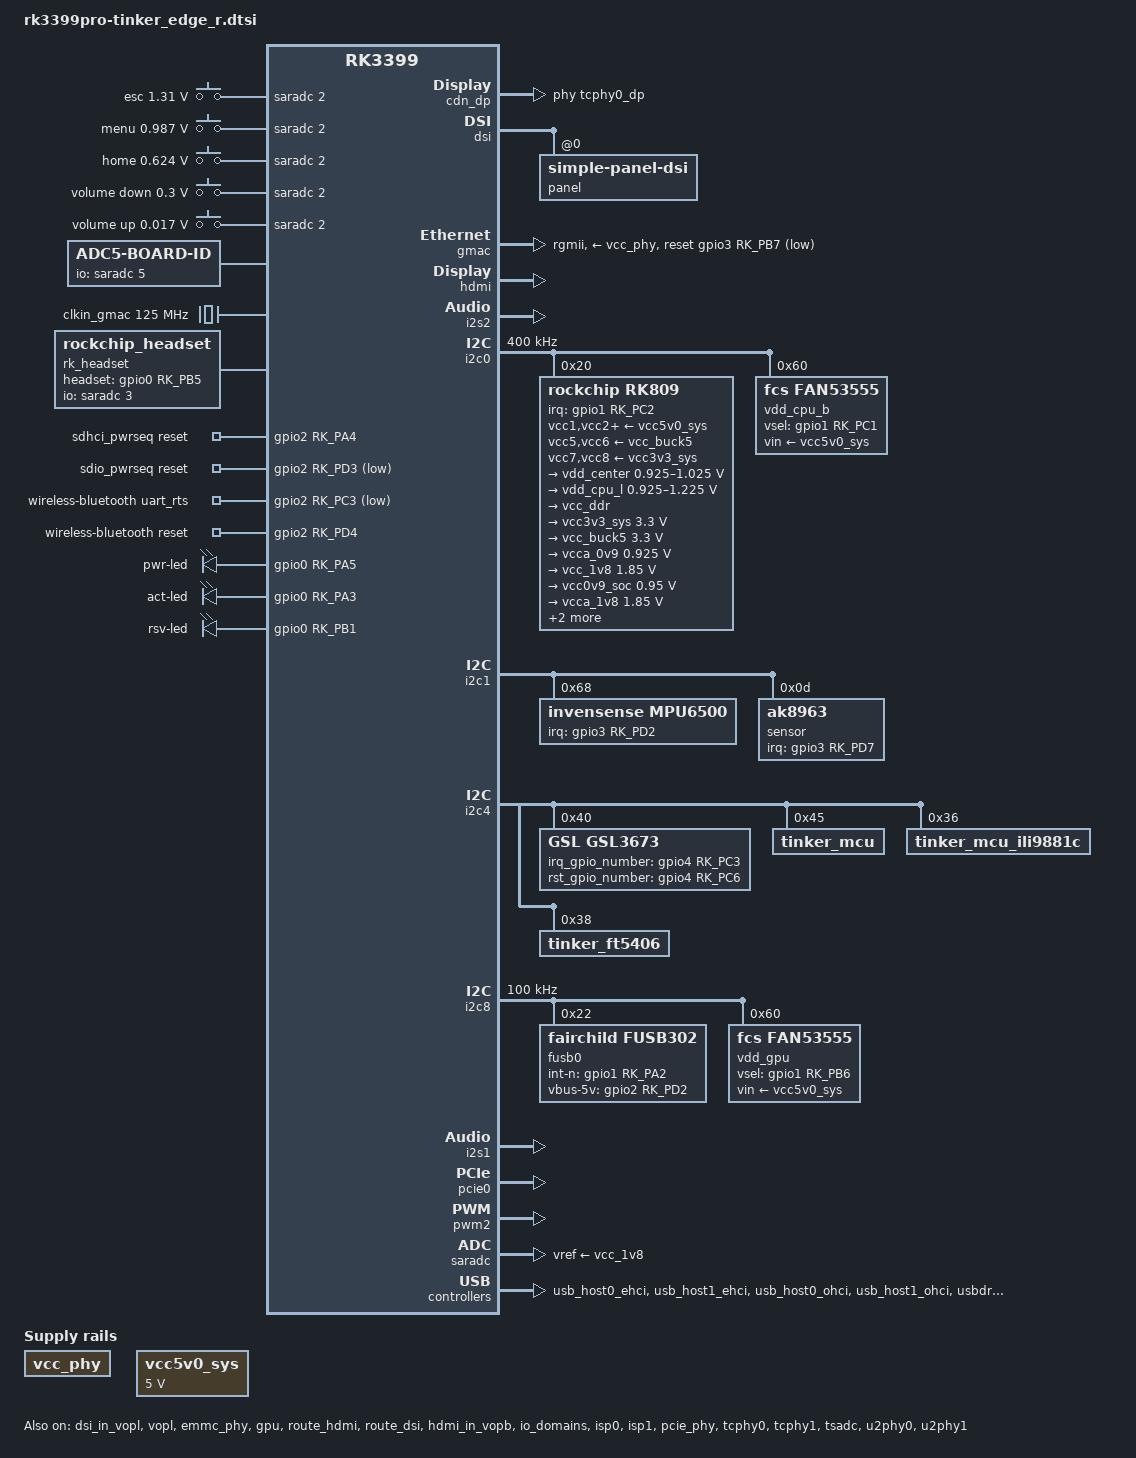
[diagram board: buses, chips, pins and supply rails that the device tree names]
// SPDX-License-Identifier: (GPL-2.0+ OR MIT)
/*
 * Copyright (c) 2018 Fuzhou Rockchip Electronics Co., Ltd
 *
 */

#include <dt-bindings/gpio/gpio.h>
#include <dt-bindings/pinctrl/rockchip.h>
#include <dt-bindings/input/input.h>
#include <dt-bindings/display/drm_mipi_dsi.h>
#include <dt-bindings/sensor-dev.h>
#include <dt-bindings/pwm/pwm.h>
#include "rk3399pro.dtsi"
#include "rk3399-android.dtsi"
#include "rk3399-opp.dtsi"
#include "rk3399-vop-clk-set.dtsi"

/ {
	adc-keys {
		compatible = "adc-keys";
		io-channels = <&saradc 2>;
		io-channel-names = "buttons";
		poll-interval = <100>;
		keyup-threshold-microvolt = <1800000>;

		esc-key {
			linux,code = <KEY_ESC>;
			label = "esc";
			press-threshold-microvolt = <1310000>;
		};

		menu-key {
			linux,code = <KEY_MENU>;
			label = "menu";
			press-threshold-microvolt = <987000>;
		};

		home-key {
			linux,code = <KEY_HOME>;
			label = "home";
			press-threshold-microvolt = <624000>;
		};

		vol-down-key {
			linux,code = <KEY_VOLUMEDOWN>;
			label = "volume down";
			press-threshold-microvolt = <300000>;
		};

		vol-up-key {
			linux,code = <KEY_VOLUMEUP>;
			label = "volume up";
			press-threshold-microvolt = <17000>;
		};
	};

	ADC5-BOARD-ID {
		compatible = "ADC5-BOARD-ID";
		io-channels = <&saradc 5>;
		io-channel-names = "adc5";
	};

	backlight: backlight {
		compatible = "pwm-backlight";
		pwms = <&pwm0 0 25000 0>;
		brightness-levels = <
			  0  20  20  21  21  22  22  23
			 23  24  24  25  25  26  26  27
			 27  28  28  29  29  30  30  31
			 31  32  32  33  33  34  34  35
			 35  36  36  37  37  38  38  39
			 40  41  42  43  44  45  46  47
			 48  49  50  51  52  53  54  55
			 56  57  58  59  60  61  62  63
			 64  65  66  67  68  69  70  71
			 72  73  74  75  76  77  78  79
			 80  81  82  83  84  85  86  87
			 88  89  90  91  92  93  94  95
			 96  97  98  99 100 101 102 103
			104 105 106 107 108 109 110 111
			112 113 114 115 116 117 118 119
			120 121 122 123 124 125 126 127
			128 129 130 131 132 133 134 135
			136 137 138 139 140 141 142 143
			144 145 146 147 148 149 150 151
			152 153 154 155 156 157 158 159
			160 161 162 163 164 165 166 167
			168 169 170 171 172 173 174 175
			176 177 178 179 180 181 182 183
			184 185 186 187 188 189 190 191
			192 193 194 195 196 197 198 199
			200 201 202 203 204 205 206 207
			208 209 210 211 212 213 214 215
			216 217 218 219 220 221 222 223
			224 225 226 227 228 229 230 231
			232 233 234 235 236 237 238 239
			240 241 242 243 244 245 246 247
			248 249 250 251 252 253 254 255
		>;
		default-brightness-level = <200>;
		enable-gpios = <&gpio1 RK_PB5 GPIO_ACTIVE_HIGH>;
		status = "disabled";
	};

	clkin_gmac: external-gmac-clock {
		compatible = "fixed-clock";
		clock-frequency = <125000000>;
		clock-output-names = "clkin_gmac";
		#clock-cells = <0>;
	};

	rk809-sound {
		compatible = "simple-audio-card";
		simple-audio-card,format = "i2s";
		simple-audio-card,name = "rockchip,rk809-codec";
		simple-audio-card,mclk-fs = <256>;
		simple-audio-card,widgets =
			"Microphone", "Mic Jack",
			"Headphone", "Headphone Jack";
		simple-audio-card,routing =
			"Mic Jack", "MICBIAS1",
			"IN1P", "Mic Jack",
			"Headphone Jack", "HPOL",
			"Headphone Jack", "HPOR";
		simple-audio-card,cpu {
			sound-dai = <&i2s1>;
		};
		simple-audio-card,codec {
			sound-dai = <&rk809_codec>;
		};
	};

/*
	hdmi_sound: hdmi-sound {
		status = "okay";
		compatible = "simple-audio-card";
		simple-audio-card,format = "i2s";
		simple-audio-card,mclk-fs = <256>;
		simple-audio-card,name = "rockchip,hdmi";

		simple-audio-card,cpu {
			sound-dai = <&i2s2>;
		};
		simple-audio-card,codec {
			sound-dai = <&hdmi>;
		};
	};
*/

	hdmi_dp_sound: hdmi-dp-sound {
		status = "okay";
		compatible = "rockchip,rk3399-hdmi-dp";
		rockchip,cpu = <&i2s2>;
		rockchip,codec = <&hdmi>, <&cdn_dp>;
	};

	rk_headset {
		compatible = "rockchip_headset";
		headset_gpio = <&gpio0 RK_PB5 GPIO_ACTIVE_HIGH>;
		pinctrl-names = "default";
		pinctrl-0 = <&hp_det>;
		io-channels = <&saradc 3>;
	};

	sdhci_pwrseq: sdhci-pwrseq {
		compatible = "mmc-pwrseq-emmc";
		pinctrl-0 = <&sdhci_reset>;
		pinctrl-names = "default";
		reset-gpios = <&gpio2 RK_PA4 GPIO_ACTIVE_HIGH>;
	};

	sdio_pwrseq: sdio-pwrseq {
		compatible = "mmc-pwrseq-simple";
		clocks = <&rk809 1>;
		clock-names = "ext_clock";
		pinctrl-names = "default";
		pinctrl-0 = <&wifi_enable_h>;

		/*
		 * On the module itself this is one of these (depending
		 * on the actual card populated):
		 * - SDIO_RESET_L_WL_REG_ON
		 * - PDN (power down when low)
		 */
		reset-gpios = <&gpio2 RK_PD3 GPIO_ACTIVE_LOW>;
	};

	vcc_phy: vcc-phy-regulator {
		compatible = "regulator-fixed";
		regulator-name = "vcc_phy";
		regulator-always-on;
		regulator-boot-on;
	};

	vcc5v0_sys: vccsys {
		compatible = "regulator-fixed";
		regulator-name = "vcc5v0_sys";
		regulator-always-on;
		regulator-boot-on;
		regulator-min-microvolt = <5000000>;
		regulator-max-microvolt = <5000000>;
	};

	wireless-wlan {
		compatible = "wlan-platdata";
		wifi_chip_type = "rtl8822ce";
		status = "okay";
	};

	wireless-bluetooth {
		compatible = "bluetooth-platdata";
		clocks = <&rk809 1>;
		clock-names = "ext_clock";
		uart_rts_gpios = <&gpio2 RK_PC3 GPIO_ACTIVE_LOW>;
		pinctrl-names = "default", "rts_gpio";
		pinctrl-0 = <&uart0_rts>, <&bt_irq_gpio>;
		pinctrl-1 = <&uart0_gpios>;
		BT,reset_gpio    = <&gpio2 RK_PD4 GPIO_ACTIVE_HIGH>;
		//BT,wake_gpio     = <&gpio2 RK_PD2 GPIO_ACTIVE_HIGH>;
		//BT,wake_host_irq = <&gpio0 RK_PA5 GPIO_ACTIVE_HIGH>;
		status = "okay";
	};

	usbacm_video_control: usbacm-video-control {
		compatible = "rockchip,usbacm-video-control";
		status = "disabled";
	};

	gpio-leds {
		compatible = "gpio-leds";

		pwr-led {
			gpios = <&gpio0 RK_PA5 GPIO_ACTIVE_HIGH>;
			linux,default-trigger = "default-on";
			retain-state-suspended = <1>;
		};

		act-led {
			gpios = <&gpio0 RK_PA3 GPIO_ACTIVE_HIGH>;
			linux,default-trigger="mmc0";
		};

		rsv-led {
			gpios = <&gpio0 RK_PB1 GPIO_ACTIVE_HIGH>;
			linux,default-trigger="none";
		};
	};
};

&cdn_dp {
	status = "okay";
	extcon = <&fusb0>;
	phys = <&tcphy0_dp>;
};

&cpu_l0 {
	cpu-supply = <&vdd_cpu_l>;
};

&cpu_l1 {
	cpu-supply = <&vdd_cpu_l>;
};

&cpu_l2 {
	cpu-supply = <&vdd_cpu_l>;
};

&cpu_l3 {
	cpu-supply = <&vdd_cpu_l>;
};

&cpu_b0 {
	cpu-supply = <&vdd_cpu_b>;
};

&cpu_b1 {
	cpu-supply = <&vdd_cpu_b>;
};

&dmc {
	status = "disabled";
	center-supply = <&vdd_center>;
};

&dp_in_vopb {
	status = "disabled";
};

&edp {
	status = "disabled";
};

&edp_in_vopl {
	status = "disabled";
};

&edp_in_vopb {
	status = "disabled";
};

&dsi_in_vopl {
	status = "okay";
};

&dsi_in_vopb {
	status = "disabled";
};

&dsi1 {
	status = "disabled";
};

&dsi1_in_vopl {
	status = "disabled";
};

&dsi1_in_vopb {
	status = "disabled";
};

&vopl {
	status = "okay";
};

&dsi {
	status = "okay";

	panel@0 {
		compatible ="simple-panel-dsi";
		reg = <0>;

		rpi-init-sequence = [
				29 00 06 10 02 03 00 00 00
				29 00 06 64 01 0C 00 00 00
				29 00 06 68 01 0C 00 00 00
				29 00 06 44 01 00 00 00 00
				29 00 06 48 01 00 00 00 00
				29 00 06 14 01 15 00 00 00
				29 00 06 50 04 60 00 00 00
				29 00 06 20 04 52 01 10 00
				29 00 06 24 04 14 00 1A 00
				29 00 06 28 04 20 03 69 00
				29 00 06 2C 04 02 00 15 00
				29 00 06 30 04 E0 01 07 00
				29 00 06 34 04 01 00 00 00
				29 00 06 64 04 0F 04 00 00
				29 00 06 04 01 01 00 00 00
				29 00 06 04 02 01 00 00 00
		];
		powertip-exit-sequence = [
			05 14 01 28
			05 78 01 10
		];
		powertip-rev-a-init-sequence = [
			39 00 04 ff 98 81 03
			15 00 02 03 55
			15 00 02 04 13
			15 00 02 06 06
			15 00 02 07 01
			15 00 02 09 01
			15 00 02 0a 01
			15 00 02 0f 18
			15 00 02 10 18
			15 00 02 1e 44
			15 00 02 1f 80
			15 00 02 20 02
			15 00 02 21 03
			15 00 02 28 33
			15 00 02 29 03
			15 00 02 34 04
			15 00 02 38 01
			15 00 02 50 01
			15 00 02 51 23
			15 00 02 52 45
			15 00 02 53 67
			15 00 02 54 89
			15 00 02 55 ab
			15 00 02 56 01
			15 00 02 57 23
			15 00 02 58 45
			15 00 02 59 67
			15 00 02 5a 89
			15 00 02 5b ab
			15 00 02 5c cd
			15 00 02 5d ef
			15 00 02 5e 11
			15 00 02 5f 14
			15 00 02 60 15
			15 00 02 61 0f
			15 00 02 62 0d
			15 00 02 63 0e
			15 00 02 64 0c
			15 00 02 65 06
			15 00 02 66 02
			15 00 02 67 02
			15 00 02 68 02
			15 00 02 69 02
			15 00 02 6a 02
			15 00 02 6b 02
			15 00 02 6c 02
			15 00 02 6d 02
			15 00 02 6e 02
			15 00 02 6f 02
			15 00 02 70 02
			15 00 02 72 01
			15 00 02 73 08
			15 00 02 74 02
			15 00 02 75 14
			15 00 02 76 15
			15 00 02 77 0f
			15 00 02 78 0d
			15 00 02 79 0e
			15 00 02 7a 0c
			15 00 02 7b 08
			15 00 02 7c 02
			15 00 02 7d 02
			15 00 02 7e 02
			15 00 02 7f 02
			15 00 02 80 02
			15 00 02 81 02
			15 00 02 82 02
			15 00 02 83 02
			15 00 02 84 02
			15 00 02 85 02
			15 00 02 86 02
			15 00 02 88 01
			15 00 02 89 06
			15 00 02 8a 02
			39 00 04 ff 98 81 04
			15 00 02 6c 15
			15 00 02 6e 2a
			15 00 02 6f 33
			15 00 02 3a 24
			15 00 02 8d 14
			15 00 02 87 ba
			15 00 02 26 76
			15 00 02 b2 d1
			15 00 02 b5 d7
			15 00 02 35 1f
			39 00 04 ff 98 81 01
			15 00 02 22 0a
			15 00 02 53 72
			15 00 02 55 77
			15 00 02 50 a6
			15 00 02 51 a6
			15 00 02 60 30
			15 00 02 a0 08
			15 00 02 a1 1a
			15 00 02 a2 2a
			15 00 02 a3 14
			15 00 02 a4 17
			15 00 02 a5 2b
			15 00 02 a6 1d
			15 00 02 a7 20
			15 00 02 a8 9d
			15 00 02 a9 1c
			15 00 02 aa 29
			15 00 02 ab 8f
			15 00 02 ac 20
			15 00 02 ad 1f
			15 00 02 ae 4f
			15 00 02 af 23
			15 00 02 b0 29
			15 00 02 b1 56
			15 00 02 b2 66
			15 00 02 b3 39
			15 00 02 c0 08
			15 00 02 c1 1a
			15 00 02 c2 2a
			15 00 02 c3 15
			15 00 02 c4 17
			15 00 02 c5 2b
			15 00 02 c6 1d
			15 00 02 c7 20
			15 00 02 c8 9d
			15 00 02 c9 1d
			15 00 02 ca 29
			15 00 02 cb 8f
			15 00 02 cc 20
			15 00 02 cd 1f
			15 00 02 ce 4f
			15 00 02 cf 24
			15 00 02 d0 29
			15 00 02 d1 56
			15 00 02 d2 66
			15 00 02 d3 39
			39 00 04 ff 98 81 00
			15 00 02 35 00
			05 78 01 11
			05 78 01 29
		];
		powertip-rev-b-init-sequence = [
			39 00 04 FF 98 81 03
			15 00 02 01 00
			15 00 02 02 00
			15 00 02 03 73
			15 00 02 04 00
			15 00 02 05 00
			15 00 02 06 0A
			15 00 02 07 00
			15 00 02 08 00
			15 00 02 09 61
			15 00 02 0A 00
			15 00 02 0B 00
			15 00 02 0C 01
			15 00 02 0D 00
			15 00 02 0E 00
			15 00 02 0F 61
			15 00 02 10 61
			15 00 02 11 00
			15 00 02 12 00
			15 00 02 13 00
			15 00 02 14 00
			15 00 02 15 00
			15 00 02 16 00
			15 00 02 17 00
			15 00 02 18 00
			15 00 02 19 00
			15 00 02 1A 00
			15 00 02 1B 00
			15 00 02 1C 00
			15 00 02 1D 00
			15 00 02 1E 40
			15 00 02 1F 80
			15 00 02 20 06
			15 00 02 21 01
			15 00 02 22 00
			15 00 02 23 00
			15 00 02 24 00
			15 00 02 25 00
			15 00 02 26 00
			15 00 02 27 00
			15 00 02 28 33
			15 00 02 29 03
			15 00 02 2A 00
			15 00 02 2B 00
			15 00 02 2C 00
			15 00 02 2D 00
			15 00 02 2E 00
			15 00 02 2F 00
			15 00 02 30 00
			15 00 02 31 00
			15 00 02 32 00
			15 00 02 33 00
			15 00 02 34 04
			15 00 02 35 00
			15 00 02 36 00
			15 00 02 37 00
			15 00 02 38 3C
			15 00 02 39 00
			15 00 02 3A 00
			15 00 02 3B 00
			15 00 02 3C 00
			15 00 02 3D 00
			15 00 02 3E 00
			15 00 02 3F 00
			15 00 02 40 00
			15 00 02 41 00
			15 00 02 42 00
			15 00 02 43 00
			15 00 02 44 00
			15 00 02 50 10
			15 00 02 51 32
			15 00 02 52 54
			15 00 02 53 76
			15 00 02 54 98
			15 00 02 55 BA
			15 00 02 56 10
			15 00 02 57 32
			15 00 02 58 54
			15 00 02 59 76
			15 00 02 5A 98
			15 00 02 5B BA
			15 00 02 5C DC
			15 00 02 5D FE
			15 00 02 5E 00
			15 00 02 5F 0E
			15 00 02 60 0F
			15 00 02 61 0C
			15 00 02 62 0D
			15 00 02 63 06
			15 00 02 64 07
			15 00 02 65 02
			15 00 02 66 02
			15 00 02 67 02
			15 00 02 68 02
			15 00 02 69 01
			15 00 02 6A 00
			15 00 02 6B 02
			15 00 02 6C 15
			15 00 02 6D 14
			15 00 02 6E 02
			15 00 02 6F 02
			15 00 02 70 02
			15 00 02 71 02
			15 00 02 72 02
			15 00 02 73 02
			15 00 02 74 02
			15 00 02 75 0E
			15 00 02 76 0F
			15 00 02 77 0C
			15 00 02 78 0D
			15 00 02 79 06
			15 00 02 7A 07
			15 00 02 7B 02
			15 00 02 7C 02
			15 00 02 7D 02
			15 00 02 7E 02
			15 00 02 7F 01
			15 00 02 80 00
			15 00 02 81 02
			15 00 02 82 14
			15 00 02 83 15
			15 00 02 84 02
			15 00 02 85 02
			15 00 02 86 02
			15 00 02 87 02
			15 00 02 88 02
			15 00 02 89 02
			15 00 02 8A 02
			39 00 04 FF 98 81 04
			15 00 02 6C 15
			15 00 02 6E 2A
			15 00 02 6F 33
			15 00 02 3B 98
			15 00 02 3A 94
			15 00 02 8D 14
			15 00 02 87 BA
			15 00 02 26 76
			15 00 02 B2 D1
			15 00 02 B5 06
			15 00 02 38 01
			15 00 02 39 00
			39 00 04 FF 98 81 01
			15 00 02 22 0A
			15 00 02 31 00
			15 00 02 53 7D
			15 00 02 55 8F
			15 00 02 40 33
			15 00 02 50 96
			15 00 02 51 96
			15 00 02 60 23
			15 00 02 A0 08
			15 00 02 A1 1D
			15 00 02 A2 2A
			15 00 02 A3 10
			15 00 02 A4 15
			15 00 02 A5 28
			15 00 02 A6 1C
			15 00 02 A7 1D
			15 00 02 A8 7E
			15 00 02 A9 1D
			15 00 02 AA 29
			15 00 02 AB 6B
			15 00 02 AC 1A
			15 00 02 AD 18
			15 00 02 AE 4B
			15 00 02 AF 20
			15 00 02 B0 27
			15 00 02 B1 50
			15 00 02 B2 64
			15 00 02 B3 39
			15 00 02 C0 08
			15 00 02 C1 1D
			15 00 02 C2 2A
			15 00 02 C3 10
			15 00 02 C4 15
			15 00 02 C5 28
			15 00 02 C6 1C
			15 00 02 C7 1D
			15 00 02 C8 7E
			15 00 02 C9 1D
			15 00 02 CA 29
			15 00 02 CB 6B
			15 00 02 CC 1A
			15 00 02 CD 18
			15 00 02 CE 4B
			15 00 02 CF 20
			15 00 02 D0 27
			15 00 02 D1 50
			15 00 02 D2 64
			15 00 02 D3 39
			39 00 04 ff 98 81 00
			15 00 02 35 00
			05 78 01 11
			05 78 01 29
		];

		rpi-display-timings {
			native-mode = <&timing0>;

			timing0: timing0 {
				clock-frequency = <26101800>;
				hactive = <800>;
				vactive = <480>;
				hfront-porch = <2>;
				hsync-len = <2>;
				hback-porch = <52>;
				vfront-porch = <7>;
				vsync-len = <2>;
				vback-porch = <21>;
				hsync-active = <0>;
				vsync-active = <0>;
				de-active = <0>;
				pixelclk-active = <0>;
			};
		};

		powertip-display-timings {
			native-mode = <&timing1>;

			timing1: timing1 {
				clock-frequency = <66800000>;
				hactive = <720>;
				vactive = <1280>;
				hfront-porch = <8>;
				hsync-len = <55>;
				hback-porch = <55>;
				vfront-porch = <8>;
				vsync-len = <20>;
				vback-porch = <20>;
				hsync-active = <0>;
				vsync-active = <0>;
				de-active = <0>;
				pixelclk-active = <0>;
			};
		};
	};
};

&emmc_phy {
	status = "okay";
};

&fiq_debugger {
	rockchip,serial-id = <0>;
	rockchip,baudrate = <115200>;
	pinctrl-0 = <&uart0_xfer>;
};

&gmac {
	phy-supply = <&vcc_phy>;
	phy-mode = "rgmii";
	clock_in_out = "input";
	snps,reset-gpio = <&gpio3 RK_PB7 GPIO_ACTIVE_LOW>;
	snps,reset-active-low;
	snps,reset-delays-us = <0 16000 72000>;
	assigned-clocks = <&cru SCLK_RMII_SRC>;
	assigned-clock-parents = <&clkin_gmac>;
	pinctrl-names = "default";
	pinctrl-0 = <&rgmii_pins>;
	tx_delay = <0x23>;
	rx_delay = <0x22>;
	status = "okay";
};

&gpu {
	status = "okay";
	mali-supply = <&vdd_gpu>;
};

&route_hdmi {
	status = "okay";
	connect = <&vopb_out_hdmi>;
};

&route_dsi{
	status = "okay";
	logo,uboot = "tinker_720.bmp";
	logo,kernel = "tinker_720.bmp";
	connect = <&vopl_out_dsi>;
};

&hdmi {
	status = "okay";
	#sound-dai-cells = <0>;
	rockchip,phy-table =
		<74250000  0x8009 0x0004 0x0272>,
		<165000000 0x802b 0x0004 0x0209>,
		<297000000 0x8039 0x0005 0x028d>,
		<594000000 0x8039 0x0000 0x00f6>,
		<000000000 0x0000 0x0000 0x0000>;
};

&hdmi_dp_sound {
	status = "okay";
};

&hdmi_in_vopb {
	status = "okay";
};

&hdmi_in_vopl {
	status = "disabled";
};

&i2s2 {
	#sound-dai-cells = <0>;
	status = "okay";
};

&i2c0 {
	status = "okay";
	i2c-scl-rising-time-ns = <180>;
	i2c-scl-falling-time-ns = <30>;
	clock-frequency = <400000>;

	rk809: pmic@20 {
		compatible = "rockchip,rk809";
		reg = <0x20>;
		interrupt-parent = <&gpio1>;
		interrupts = <RK_PC2 IRQ_TYPE_LEVEL_LOW>;
		pinctrl-names = "default", "pmic-sleep",
				"pmic-power-off", "pmic-reset";
		pinctrl-0 = <&pmic_int_l>;
		pinctrl-1 = <&soc_slppin_slp>, <&rk809_slppin_slp>;
		pinctrl-2 = <&soc_slppin_gpio>, <&rk809_slppin_pwrdn>;
		pinctrl-3 = <&soc_slppin_gpio>,<&rk809_slppin_null>;
		rockchip,system-power-controller;
		pmic-reset-func = <0>;
		wakeup-source;
		#clock-cells = <1>;
		clock-output-names = "rk808-clkout1", "rk808-clkout2";

		vcc1-supply = <&vcc5v0_sys>;
		vcc2-supply = <&vcc5v0_sys>;
		vcc3-supply = <&vcc5v0_sys>;
		vcc4-supply = <&vcc5v0_sys>;
		vcc5-supply = <&vcc_buck5>;
		vcc6-supply = <&vcc_buck5>;
		vcc7-supply = <&vcc3v3_sys>;
		vcc8-supply = <&vcc3v3_sys>;
		vcc9-supply = <&vcc5v0_sys>;

		pwrkey {
			status = "okay";
		};

		rtc {
			status = "okay";
		};

		pinctrl_rk8xx: pinctrl_rk8xx {
			gpio-controller;
			#gpio-cells = <2>;

			rk809_slppin_null: rk809_slppin_null {
				pins = "gpio_slp";
				function = "pin_fun0";
			};

			rk809_slppin_slp: rk809_slppin_slp {
				pins = "gpio_slp";
				function = "pin_fun1";
			};

			rk809_slppin_pwrdn: rk809_slppin_pwrdn {
				pins = "gpio_slp";
				function = "pin_fun2";
			};

			rk809_slppin_rst: rk809_slppin_rst {
				pins = "gpio_slp";
				function = "pin_fun3";
			};
		};

		regulators {
			vdd_center: DCDC_REG1 {
				regulator-always-on;
				regulator-boot-on;
				regulator-min-microvolt = <925000>;
				regulator-max-microvolt = <1025000>;
				regulator-initial-mode = <0x2>;
				regulator-name = "vdd_center";
				regulator-state-mem {
					regulator-off-in-suspend;
					regulator-suspend-microvolt = <925000>;
				};
			};

			vdd_cpu_l: DCDC_REG2 {
				regulator-always-on;
				regulator-boot-on;
				regulator-min-microvolt = <925000>;
				regulator-max-microvolt = <1225000>;
				regulator-ramp-delay = <6001>;
				regulator-initial-mode = <0x2>;
				regulator-name = "vdd_cpu_l";
				regulator-state-mem {
					regulator-off-in-suspend;
				};
			};

			vcc_ddr: DCDC_REG3 {
				regulator-always-on;
				regulator-boot-on;
				regulator-name = "vcc_ddr";
				regulator-initial-mode = <0x2>;
				regulator-state-mem {
					regulator-on-in-suspend;
				};
			};

			vcc3v3_sys: DCDC_REG4 {
				regulator-always-on;
				regulator-boot-on;
				regulator-min-microvolt = <3300000>;
				regulator-max-microvolt = <3300000>;
				regulator-initial-mode = <0x2>;
				regulator-name = "vcc3v3_sys";
				regulator-state-mem {
					regulator-on-in-suspend;
					regulator-suspend-microvolt = <3300000>;
				};
			};

			vcc_buck5: DCDC_REG5 {
				regulator-always-on;
				regulator-boot-on;
				regulator-min-microvolt = <3300000>;
				regulator-max-microvolt = <3300000>;
				regulator-name = "vcc_buck5";
				regulator-state-mem {
					regulator-on-in-suspend;
					regulator-suspend-microvolt = <3300000>;
				};
			};

			vcca_0v9: LDO_REG1 {
				regulator-always-on;
				regulator-boot-on;
				regulator-min-microvolt = <925000>;
				regulator-max-microvolt = <925000>;
				regulator-name = "vcca_0v9";
				regulator-state-mem {
					regulator-on-in-suspend;
					regulator-suspend-microvolt = <925000>;
				};
			};

			vcc_1v8: LDO_REG2 {
				regulator-always-on;
				regulator-boot-on;
				regulator-min-microvolt = <1850000>;
				regulator-max-microvolt = <1850000>;

				regulator-name = "vcc_1v8";
				regulator-state-mem {
					regulator-on-in-suspend;
					regulator-suspend-microvolt = <1850000>;
				};
			};

			vcc0v9_soc: LDO_REG3 {
				regulator-always-on;
				regulator-boot-on;
				regulator-min-microvolt = <950000>;
				regulator-max-microvolt = <950000>;

				regulator-name = "vcc0v9_soc";
				regulator-state-mem {
					regulator-on-in-suspend;
					regulator-suspend-microvolt = <950000>;
				};
			};

			vcca_1v8: LDO_REG4 {
				regulator-always-on;
				regulator-boot-on;
				regulator-min-microvolt = <1850000>;
				regulator-max-microvolt = <1850000>;

				regulator-name = "vcca_1v8";
				regulator-state-mem {
					regulator-on-in-suspend;
					regulator-suspend-microvolt = <1850000>;
				};
			};

			vdd1v5_dvp: LDO_REG5 {
				regulator-always-on;
				regulator-boot-on;
				regulator-min-microvolt = <1850000>;
				regulator-max-microvolt = <1850000>;

				regulator-name = "vdd1v5_dvp";
				regulator-state-mem {
					regulator-off-in-suspend;
				};
			};

			vcc_1v5: LDO_REG6 {
				regulator-always-on;
				regulator-boot-on;
				regulator-min-microvolt = <1550000>;
				regulator-max-microvolt = <1550000>;

				regulator-name = "vcc_1v5";
				regulator-state-mem {
					regulator-off-in-suspend;
				};
			};

			vcc_3v0: LDO_REG7 {
				regulator-always-on;
				regulator-boot-on;
				regulator-min-microvolt = <3075000>;
				regulator-max-microvolt = <3075000>;

				regulator-name = "vcc_3v0";
				regulator-state-mem {
					regulator-off-in-suspend;
				};
			};

			vccio_sd: LDO_REG8 {
				regulator-always-on;
				regulator-boot-on;
				regulator-min-microvolt = <1850000>;
				regulator-max-microvolt = <3375000>;

				regulator-name = "vccio_sd";
				regulator-state-mem {
					regulator-off-in-suspend;
				};
			};

			vcc_sd: LDO_REG9 {
				regulator-always-on;
				regulator-boot-on;
				regulator-min-microvolt = <3375000>;
				regulator-max-microvolt = <3375000>;

				regulator-name = "vcc_sd";
				regulator-state-mem {
					regulator-off-in-suspend;
				};
			};

			vcc5v0_usb: SWITCH_REG1 {
				regulator-always-on;
				regulator-boot-on;
				regulator-min-microvolt = <5000000>;
				regulator-max-microvolt = <5000000>;

				regulator-name = "vcc5v0_usb";
				regulator-state-mem {
					regulator-on-in-suspend;
					regulator-suspend-microvolt = <5000000>;
				};
			};

			vccio_3v3: SWITCH_REG2 {
				regulator-always-on;
				regulator-boot-on;
				regulator-min-microvolt = <3300000>;
				regulator-max-microvolt = <3300000>;

				regulator-name = "vccio_3v3";
				regulator-state-mem {
					regulator-on-in-suspend;
					regulator-suspend-microvolt = <3300000>;
				};
			};
		};

		rk809_codec: codec {
			#sound-dai-cells = <0>;
			compatible = "rockchip,rk809-codec", "rockchip,rk817-codec";
			clocks = <&cru SCLK_I2S_8CH_OUT>;
			clock-names = "mclk";
			pinctrl-names = "default";
			pinctrl-0 = <&i2s_8ch_mclk>;
			hp-volume = <20>;
			spk-volume = <3>;
			status = "okay";
		};
	};

	vdd_cpu_b: fan53555@60 {
		compatible = "fcs,fan53555";
		reg = <0x60>;
		vin-supply = <&vcc5v0_sys>;
		regulator-compatible = "fan53555-reg";
		pinctrl-0 = <&vsel1_gpio>;
		vsel-gpios = <&gpio1 RK_PC1 GPIO_ACTIVE_HIGH>;
		regulator-name = "vdd_cpu_b";
		regulator-min-microvolt = <925000>;
		regulator-max-microvolt = <1275000>;
		regulator-ramp-delay = <1000>;
		fcs,suspend-voltage-selector = <1>;
		regulator-always-on;
		regulator-boot-on;
		regulator-initial-state = <3>;
		regulator-state-mem {
			regulator-off-in-suspend;
		};
	};

	bq25700: bq25700@6b {
		compatible = "ti,bq25703";
		reg = <0x6b>;
		extcon = <&fusb0>;
		interrupt-parent = <&gpio1>;
		interrupts = <RK_PA1 IRQ_TYPE_LEVEL_LOW>;
		pinctrl-names = "default";
		pinctrl-0 = <&charger_ok_int>;
		ti,charge-current = <1500000>;
		ti,max-charge-voltage = <8704000>;
		ti,max-input-voltage = <20000000>;
		ti,max-input-current = <6000000>;
		ti,input-current-sdp = <500000>;
		ti,input-current-dcp = <2000000>;
		ti,input-current-cdp = <2000000>;
		ti,input-current-dc = <2000000>;
		ti,minimum-sys-voltage = <6700000>;
		ti,otg-voltage = <5000000>;
		ti,otg-current = <500000>;
		ti,input-current = <500000>;
		pd-charge-only = <0>;
		status = "disabled";
	};
};

&i2c1 {
	status = "okay";
	i2c-scl-rising-time-ns = <140>;
	i2c-scl-falling-time-ns = <30>;

	mpu6500@68 {
		status = "okay";
		compatible = "invensense,mpu6500";
		reg = <0x68>;
		irq-gpio = <&gpio3 RK_PD2 IRQ_TYPE_EDGE_RISING>;
		mpu-int_config = <0x10>;
		mpu-level_shifter = <0>;
		mpu-orientation = <0 1 0 1 0 0 0 0 1>;
		orientation-x= <0>;
		orientation-y= <0>;
		orientation-z= <1>;
		mpu-debug = <1>;
	};

	sensor@d {
		status = "okay";
		compatible = "ak8963";
		reg = <0x0d>;
		type = <SENSOR_TYPE_COMPASS>;
		irq-gpio = <&gpio3 RK_PD7 IRQ_TYPE_EDGE_RISING>;
		irq_enable = <0>;
		poll_delay_ms = <30>;
		layout = <3>;
	};
};

&i2c4 {
	status = "okay";
	i2c-scl-rising-time-ns = <345>;
	i2c-scl-falling-time-ns = <11>;

	gsl3673: gsl3673@40 {
		compatible = "GSL,GSL3673";
		reg = <0x40>;
		screen_max_x = <1536>;
		screen_max_y = <2048>;
		irq_gpio_number = <&gpio4 RK_PC3 IRQ_TYPE_LEVEL_LOW>;
		rst_gpio_number = <&gpio4 RK_PC6 GPIO_ACTIVE_HIGH>;
	};

	tinker_mcu: tinker_mcu@45 {
		compatible = "tinker_mcu";
		reg = <0x45>;
	};

	tinker_mcu_ili9881c: tinker_mcu_ili9881c@36 {
		compatible = "tinker_mcu_ili9881c";
		reg = <0x36>;
	};

	tinker_ft5406: tinker_ft5406@38 {
		compatible = "tinker_ft5406";
		reg = <0x38>;
	};
};

&i2c6 {
	status = "disabled";
};

&i2c7 {
	status = "disabled";
};

&spi1 {
	status = "disabled";
	max-freq = <48000000>; /* spi internal clk, don't modify */
	spi_dev@0 {
		compatible = "rockchip,spidev";
		reg = <0>;
		spi-max-frequency = <48000000>;
		spi-lsb-first;
	};
};

&spi5 {
	status = "disabled";
	max-freq = <48000000>;   //spi internal clk, don't modify
	spi_dev@0 {
		compatible = "rockchip,spidev";
		reg = <0>;   //chip select  0:cs0  1:cs1
		id = <0>;
		spi-max-frequency = <48000000>;   //spi output clock
	};
};

&uart0 {
	status = "disabled";
};

&uart4 {
	status = "disabled";
};

&i2c8 {
	status = "okay";
	i2c-scl-rising-time-ns = <345>;
	i2c-scl-falling-time-ns = <11>;
	clock-frequency = <100000>;

	fusb0: fusb30x@22 {
		compatible = "fairchild,fusb302";
		reg = <0x22>;
		pinctrl-names = "default";
		pinctrl-0 = <&fusb0_int>;
		int-n-gpios = <&gpio1 RK_PA2 GPIO_ACTIVE_HIGH>;
		vbus-5v-gpios = <&gpio2 RK_PD2 GPIO_ACTIVE_HIGH>;
		status = "okay";
	};

	vdd_gpu: fan53555@60 {
		compatible = "fcs,fan53555";
		reg = <0x60>;
		vin-supply = <&vcc5v0_sys>;
		regulator-compatible = "fan53555-reg";
		pinctrl-0 = <&vsel2_gpio>;
		vsel-gpios = <&gpio1 RK_PB6 GPIO_ACTIVE_HIGH>;
		regulator-name = "vdd_gpu";
		regulator-min-microvolt = <800000>;
		regulator-max-microvolt = <1200000>;
		regulator-ramp-delay = <1000>;
		fcs,suspend-voltage-selector = <1>;
		regulator-always-on;
		regulator-boot-on;
		regulator-initial-state = <3>;
		regulator-state-mem {
			regulator-off-in-suspend;
		};
	};

};

&i2s1 {
	status = "okay";
	#sound-dai-cells = <0>;
};

&spdif {
	status = "disabled";
};

&io_domains {
	status = "okay";
	bt656-supply = <&vcca_1v8>;
	audio-supply = <&vcca_1v8>;
	sdmmc-supply = <&vccio_sd>;
	gpio1830-supply = <&vcc_3v0>;
};

&isp0 {
	status = "okay";
};

&isp1 {
	status = "okay";
};

&isp0_mmu {
	status = "okay";
};

&isp1_mmu {
	status = "okay";
};

&pcie_phy {
	status = "okay";
};

&pcie0 {
	status = "okay";
};

&pmu_io_domains {
	status = "okay";
	pmu1830-supply = <&vcc_1v8>;
};

&pwm0 {
	status = "disabled";
};

&pwm2 {
	status = "okay";
};

&rk_key {
	status = "disabled";
};

&rockchip_suspend {
	status = "okay";
	rockchip,sleep-debug-en = <1>;
	rockchip,sleep-mode-config = <
		(0
		| RKPM_SLP_ARMPD
		| RKPM_SLP_PERILPPD
		| RKPM_SLP_DDR_RET
		| RKPM_SLP_PLLPD
		| RKPM_SLP_CENTER_PD
		| RKPM_SLP_AP_PWROFF
		)
	>;
	rockchip,wakeup-config = <
		(0
		| RKPM_GPIO_WKUP_EN
		| RKPM_USB_WKUP_EN
		| RKPM_USB_LINESTATE_WKUP_EN
		)
	>;
	rockchip,pwm-regulator-config = <PWM2_REGULATOR_EN>;
	rockchip,power-ctrl =
		<&gpio1 RK_PC1 GPIO_ACTIVE_HIGH>,
		<&gpio1 RK_PB6 GPIO_ACTIVE_HIGH>;
};

&route_edp {
	status = "disabled";
};

&saradc {
	status = "okay";
	vref-supply = <&vcc_1v8>;
};

&sdhci {
	mmc-pwrseq = <&sdhci_pwrseq>;
};

&sdio0 {
	status = "disabled";
};

&sdmmc {
	supports-emmc;
	sd-uhs-sdr12;
	sd-uhs-sdr25;
	sd-uhs-sdr50;
	sd-uhs-sdr104;
};

&tcphy0 {
	extcon = <&fusb0>;
	status = "okay";
};

&tcphy1 {
	status = "okay";
};

&tsadc {
	rockchip,hw-tshut-mode = <1>; /* tshut mode 0:CRU 1:GPIO */
	rockchip,hw-tshut-polarity = <1>; /* tshut polarity 0:LOW 1:HIGH */
	status = "okay";
};

&u2phy0 {
	status = "okay";
	extcon = <&fusb0>;

	u2phy0_otg: otg-port {
		status = "okay";
	};

	u2phy0_host: host-port {
		phy-supply = <&vcc5v0_usb>;
		status = "okay";
	};
};

&u2phy1 {
	status = "okay";

	u2phy1_otg: otg-port {
		status = "okay";
	};

	u2phy1_host: host-port {
		phy-supply = <&vcc5v0_usb>;
		status = "okay";
	};
};

&uart0 {
	pinctrl-names = "default";
	pinctrl-0 = <&uart0_xfer &uart0_cts>;
	status = "disabled";
};

&usb_host0_ehci {
	status = "okay";
};

&usb_host1_ehci {
	status = "okay";
};

&usb_host0_ohci {
	status = "okay";
};

&usb_host1_ohci {
	status = "okay";
};

&usbdrd3_0 {
	extcon = <&fusb0>;
	status = "okay";
};

&usbdrd3_1 {
	status = "okay";
};

&usbdrd_dwc3_0 {
	status = "okay";
};

&usbdrd_dwc3_1 {
	status = "okay";
};

&vopb {
	assigned-clocks = <&cru DCLK_VOP0_DIV>;
	assigned-clock-parents = <&cru PLL_VPLL>;
};

&vopl {
	assigned-clocks = <&cru DCLK_VOP1_DIV>;
	assigned-clock-parents = <&cru PLL_CPLL>;
};

&pinctrl {
	pinctrl-names = "default";
	pinctrl-0 = <&npu_ref_clk &gpio_init>;

	bq2570 {
		charger_ok_int: charger-ok-int {
			rockchip,pins =
				<1 RK_PA1 0 &pcfg_pull_up>;
			};
	};

	camera {
		cam_pwren_high: cam-pwren-high {
			rockchip,pins =
				<4 RK_PC5 0 &pcfg_output_high>;
			};
	};

	fusb30x {
		fusb0_int: fusb0-int {
			rockchip,pins =
				<1 RK_PA2 0 &pcfg_pull_up>;
			};
	};

	headphone {
		hp_det: hp-det {
			rockchip,pins =
				<0 RK_PB5 0 &pcfg_pull_up>;
		};
	};

	lcd_rst {
		lcd_rst_gpio: lcd-rst-gpio {
			rockchip,pins =
				<3 RK_PA4 0 &pcfg_pull_none>;
		};
	};

	gpio_init_config {
                gpio_init: gpio_init {
                     rockchip,pins =
                             <1 9 0 &pcfg_pull_none>,
                             <1 10 0 &pcfg_pull_none>,
                             <1 7 0 &pcfg_pull_none>,
                             <1 8 0 &pcfg_pull_none>;
		};
	};

	npu_clk {
		npu_ref_clk: npu-ref-clk {
		     rockchip,pins =
			     <0 RK_PA2 1 &pcfg_pull_none>;
	     };
	};

	pmic {
		pmic_int_l: pmic-int-l {
			rockchip,pins =
				<1 RK_PC2 0 &pcfg_pull_up>;
		};
		vsel1_gpio: vsel1-gpio {
			rockchip,pins =
				<1 RK_PC1 0 &pcfg_pull_down>;
		};
		vsel2_gpio: vsel2-gpio {
			rockchip,pins =
				<1 RK_PB6 0 &pcfg_pull_down>;
		};

		soc_slppin_gpio: soc-slppin-gpio {
			rockchip,pins =
				<1 RK_PA5 0 &pcfg_output_low>;
		};

		soc_slppin_slp: soc-slppin-slp {
			rockchip,pins =
				<1 RK_PA5 1 &pcfg_pull_down>;
		};
	};

	sdhci-pwrseq {
		sdhci_reset: sdhci-reset {
			rockchip,pins = <2 4 RK_FUNC_GPIO &pcfg_pull_none>;
		};
	};

	sdio-pwrseq {
		wifi_enable_h: wifi-enable-h {
			rockchip,pins =
				<2 RK_PD3 0 &pcfg_pull_none>;
		};
	};

	sdmmc {
		sdmmc_bus1: sdmmc-bus1 {
			rockchip,pins =
				<4 8 RK_FUNC_1 &pcfg_pull_up_10ma>;
		};

		sdmmc_bus4: sdmmc-bus4 {
			rockchip,pins =
				<4 8 RK_FUNC_1 &pcfg_pull_up_10ma>,
				<4 9 RK_FUNC_1 &pcfg_pull_up_10ma>,
				<4 10 RK_FUNC_1 &pcfg_pull_up_10ma>,
				<4 11 RK_FUNC_1 &pcfg_pull_up_10ma>;
		};

		sdmmc_clk: sdmmc-clk {
			rockchip,pins =
				<4 12 RK_FUNC_1 &pcfg_pull_none_10ma>;
		};

		sdmmc_cmd: sdmmc-cmd {
			rockchip,pins =
				<4 13 RK_FUNC_1 &pcfg_pull_up_10ma>;
		};
	};

	tp_irq {
		tp_irq_gpio: tp-irq-gpio {
			rockchip,pins =
				<3 RK_PB0 0 &pcfg_pull_up>;
		};
	};

	wireless-bluetooth {
		uart0_gpios: uart0-gpios {
			rockchip,pins =
				<2 RK_PC3 0 &pcfg_pull_none>;
		};

		bt_irq_gpio: bt-irq-gpio {
			rockchip,pins =
				<0 RK_PA5 0 &pcfg_pull_down>;
		};
	};
};
